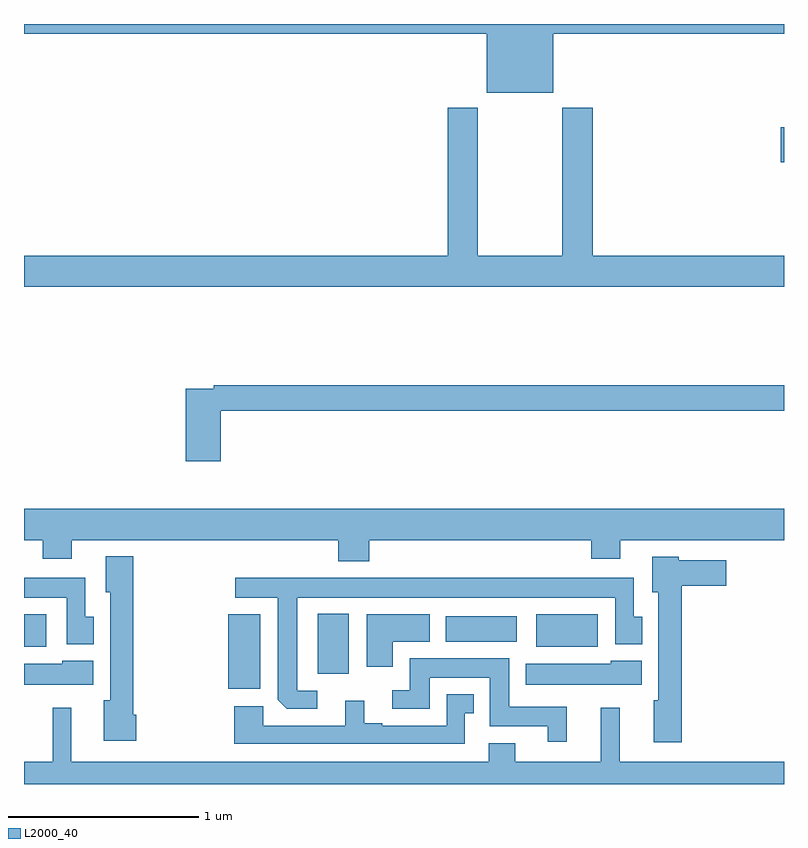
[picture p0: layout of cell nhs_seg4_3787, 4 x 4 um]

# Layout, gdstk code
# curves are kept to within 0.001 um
import gdstk
lib = gdstk.Library(unit=1e-6, precision=1e-09)
def R(c, l, rs):  # rectangles x0, y0, x1, y1
    for r in rs: c.add(gdstk.rectangle(r[:2], r[2:], *l))
def P(c, l, *ps):  # polygons
    for p in ps: c.add(gdstk.Polygon(p, *l))
L2000_40 = (2000, 40)

nhs_seg4_3787 = lib.new_cell('nhs_seg4_3787')
R(nhs_seg4_3787, L2000_40, [(312.074,765.401,312.244,765.793), (312.545,765.48,312.709,765.796), (311,765.623,311.116,765.793), (313.697,765.623,314.02,765.793), (313.22,765.65,313.594,765.784), (314.982,768.173,315,768.356)])
P(nhs_seg4_3787, L2000_40, [(313.786,768.848),(315,768.848),(315,768.9),(311,768.9),(311,768.848),(313.436,768.848),(313.436,768.539),(313.786,768.539)],
  [(315,767.68),(313.994,767.68),(313.994,768.46),(313.834,768.46),(313.834,767.68),(313.389,767.68),(313.389,768.46),(313.229,768.46),(313.229,767.68),(311,767.68),(311,767.516),(315,767.516)],
  [(312.035,766.864),(315,766.864),(315,767),(311.998,767),(311.998,766.98),(311.852,766.98),(311.852,766.599),(312.035,766.599)],
  [(312.818,766.184),(313.985,766.184),(313.985,766.085),(314.137,766.085),(314.137,766.184),(315,766.184),(315,766.348),(311,766.348),(311,766.184),(311.099,766.184),(311.099,766.085),(311.251,766.085),(311.251,766.184),(312.653,766.184),(312.653,766.073),(312.818,766.073)],
  [(311.591,765.264),(311.576,765.264),(311.576,766.099),(311.429,766.099),(311.429,765.909),(311.453,765.909),(311.453,765.342),(311.42,765.342),(311.42,765.128),(311.591,765.128)],
  [(314.462,765.944),(314.695,765.944),(314.695,766.078),(314.445,766.078),(314.445,766.096),(314.306,766.096),(314.306,765.909),(314.339,765.909),(314.339,765.342),(314.315,765.342),(314.315,765.12),(314.462,765.12)],
  [(311.368,765.78),(311.323,765.78),(311.323,765.985),(311,765.985),(311,765.881),(311.226,765.881),(311.226,765.636),(311.368,765.636)],
  [(312.544,765.39),(312.439,765.39),(312.439,765.881),(314.112,765.881),(314.112,765.636),(314.254,765.636),(314.254,765.78),(314.209,765.78),(314.209,765.985),(312.111,765.985),(312.111,765.881),(312.335,765.881),(312.336,765.343),(312.382,765.297),(312.544,765.297)],
  [(312.94,765.65),(313.135,765.65),(313.135,765.793),(312.803,765.793),(312.803,765.516),(312.94,765.516)],
  [(313.856,765.307),(313.555,765.307),(313.555,765.562),(313.031,765.562),(313.031,765.393),(312.939,765.393),(312.939,765.297),(313.135,765.297),(313.135,765.458),(313.451,765.458),(313.451,765.203),(313.757,765.203),(313.757,765.123),(313.856,765.123)],
  [(311.365,765.55),(311.202,765.55),(311.202,765.532),(311,765.532),(311,765.422),(311.365,765.422)],
  [(314.251,765.55),(314.088,765.55),(314.088,765.532),(313.64,765.532),(313.64,765.422),(314.251,765.422)],
  [(313.32,765.273),(313.366,765.273),(313.366,765.373),(313.224,765.373),(313.224,765.207),(312.886,765.207),(312.886,765.22),(312.79,765.22),(312.79,765.337),(312.692,765.337),(312.692,765.207),(312.258,765.207),(312.258,765.31),(312.107,765.31),(312.107,765.111),(313.32,765.111)],
  [(315,765.016),(314.135,765.016),(314.135,765.301),(314.036,765.301),(314.036,765.016),(313.585,765.016),(313.585,765.115),(313.445,765.115),(313.445,765.016),(311.248,765.016),(311.248,765.301),(311.15,765.301),(311.15,765.016),(311,765.016),(311,764.9),(315,764.9)])

lib.write_gds('nhs_seg4_3787.gds')
